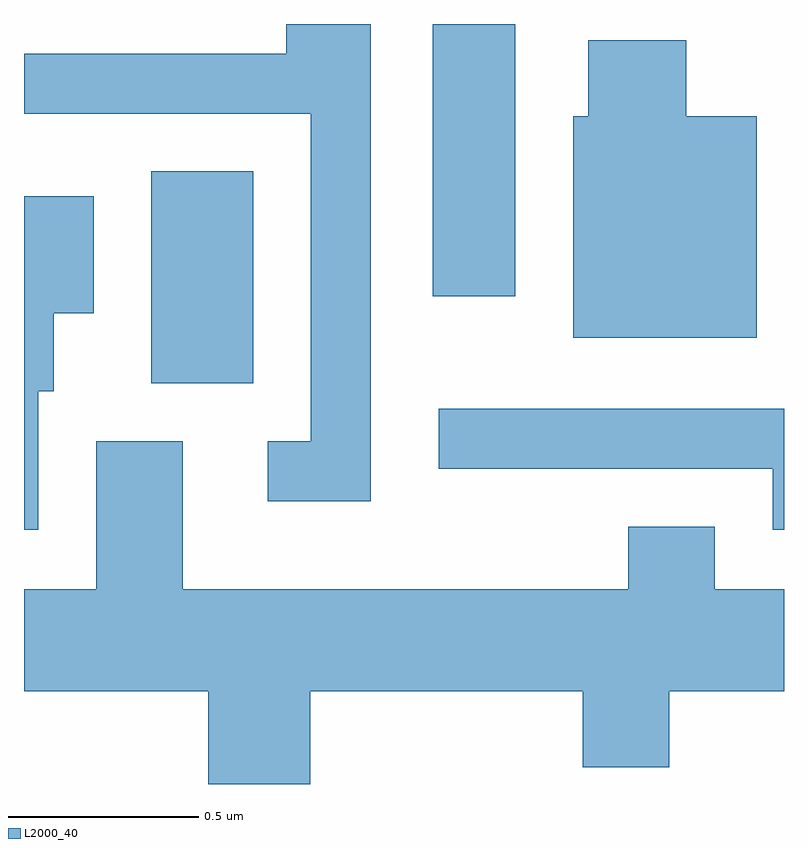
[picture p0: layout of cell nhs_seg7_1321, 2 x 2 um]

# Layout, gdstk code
import gdstk
lib = gdstk.Library(unit=1e-6, precision=1e-09)
def R(c, l, rs):  # rectangles x0, y0, x1, y1
    for r in rs: c.add(gdstk.rectangle(r[:2], r[2:], *l))
def P(c, l, *ps):  # polygons
    for p in ps: c.add(gdstk.Polygon(p, *l))
L2000_40 = (2000, 40)

nhs_seg7_1321 = lib.new_cell('nhs_seg7_1321')
R(nhs_seg7_1321, L2000_40, [(194.946,1757.306,195.214,1757.864), (195.686,1757.536,195.904,1758.252)])
P(nhs_seg7_1321, L2000_40, [(195.524,1758.252),(195.301,1758.252),(195.301,1758.174),(194.611,1758.174),(194.611,1758.016),(195.366,1758.016),(195.366,1757.154),(195.253,1757.154),(195.253,1756.996),(195.524,1756.996)],
  [(196.539,1758.009),(196.354,1758.009),(196.354,1758.209),(196.096,1758.209),(196.096,1758.009),(196.056,1758.009),(196.056,1757.426),(196.539,1757.426)],
  [(194.649,1757.286),(194.689,1757.286),(194.689,1757.491),(194.794,1757.491),(194.794,1757.799),(194.611,1757.799),(194.611,1756.921),(194.649,1756.921)],
  [(196.611,1757.239),(195.703,1757.239),(195.703,1757.081),(196.581,1757.081),(196.581,1756.921),(196.611,1756.921)],
  [(195.364,1756.496),(196.081,1756.496),(196.081,1756.296),(196.309,1756.296),(196.309,1756.496),(196.611,1756.496),(196.611,1756.764),(196.429,1756.764),(196.429,1756.929),(196.201,1756.929),(196.201,1756.764),(195.029,1756.764),(195.029,1757.154),(194.801,1757.154),(194.801,1756.764),(194.611,1756.764),(194.611,1756.496),(195.096,1756.496),(195.096,1756.252),(195.364,1756.252)])

lib.write_gds('nhs_seg7_1321.gds')
